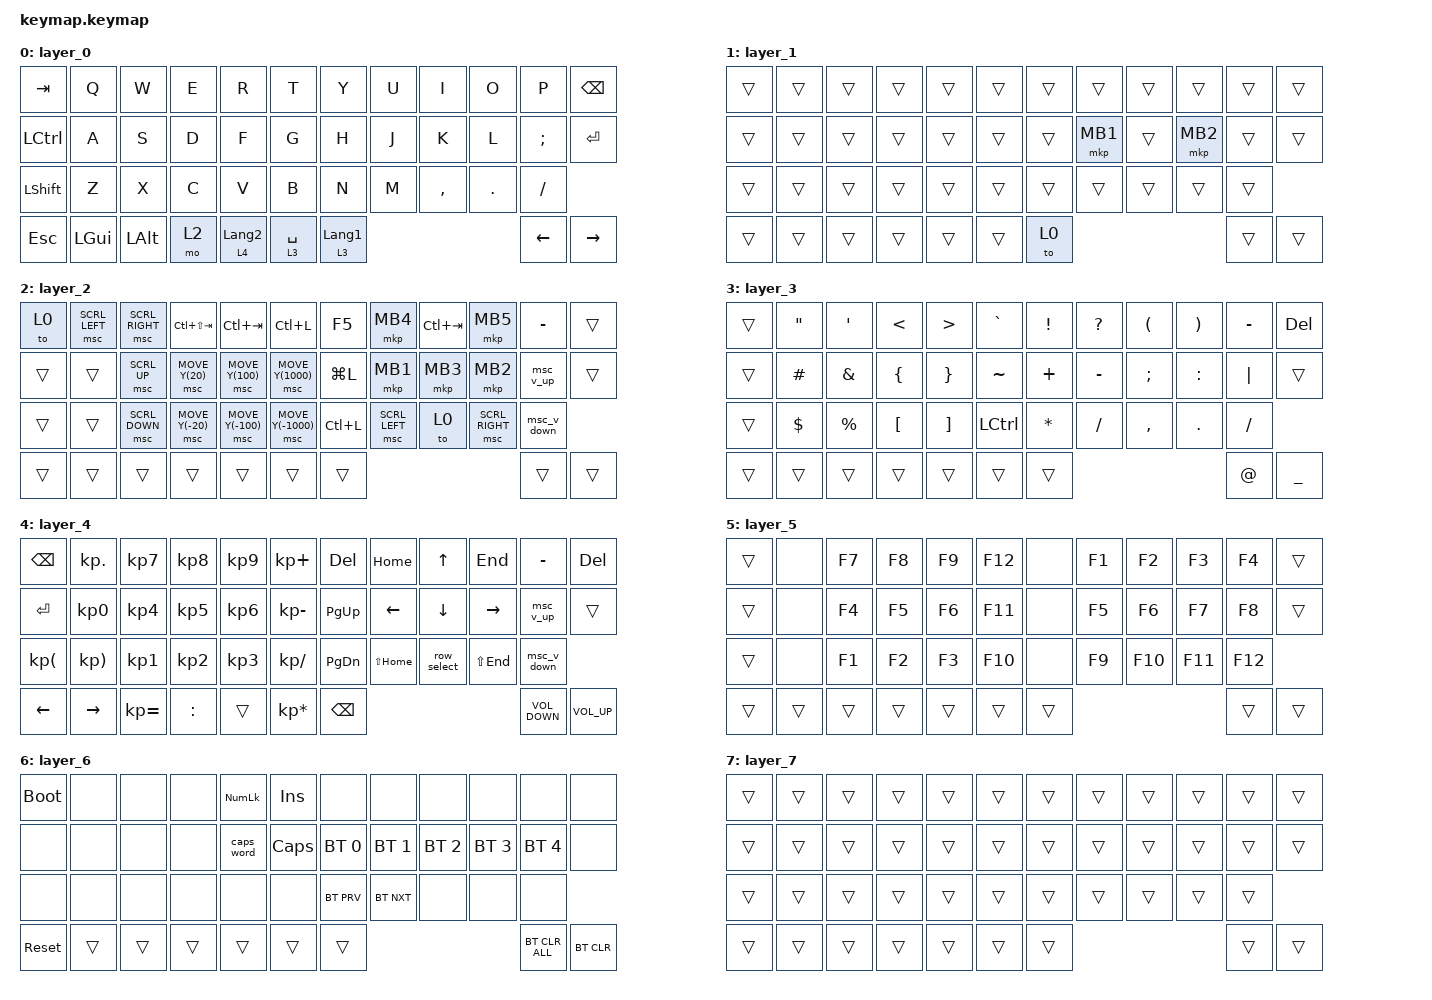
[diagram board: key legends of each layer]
#include <input/processors.dtsi>
#include <dt-bindings/zmk/input_transform.h>
#include <behaviors.dtsi>
#include <dt-bindings/zmk/bt.h>
#include <dt-bindings/zmk/keys.h>
#include <dt-bindings/zmk/pointing.h>

// オートマウスレイヤーの設定

&mkp_input_listener { input-processors = <&zip_temp_layer 1 500>; };

// オートマウスレイヤーの除外キーポジション設定

&zip_temp_layer {
    excluded-positions = <
        19 // J
        20 // K
        21 // L
    >;
};

// &ltの誤動作防止設定

&lt {
    tapping-term-ms = <240>;    /* 単発：<msec>待ったらレイヤーにする */
    quick-tap-ms = <200>;       /* 連打：<msec>以内に2回目を叩いたら即スペースにする */
    flavor = "tap-preferred";   /* 判定：時間内ならタップを優先する */
};

// &mtの誤動作防止設定

&mt {
    tapping-term-ms = <240>;    /* 単発：<msec>待ったらレイヤーにする */
    quick-tap-ms = <200>;       /* 連打：<msec>以内に2回目を叩いたら即スペースにする */
    flavor = "tap-preferred";   /* 判定：時間内ならタップを優先する */
};

/ {
    combos {
        compatible = "zmk,combos";

        Function_layer {
            bindings = <&mo 5>;
            key-positions = <43 44 42>;
        };

        mouse_button {
            bindings = <&mo 2>;
            key-positions = <40 39>;
        };

        bluetooth_layer {
            bindings = <&mo 6>;
            key-positions = <39 40 38>;
        };

        mo_scroll_layer {
            bindings = <&mo 7>;
            key-positions = <21 20>;
            timeout-ms = <75>;
            require-prior-idle-ms = <150>;
            slow-release;
        };
    };

    macros {
        row_select: row_select {
            compatible = "zmk,behavior-macro";
            #binding-cells = <0>;
            bindings = <&kp HOME &kp LS(END)>;
            label = "ROW_SELECT";
        };
    };

    behaviors {
        lt_to: lt_to {
            compatible = "zmk,behavior-hold-tap";
            label = "LT_TO";
            #binding-cells = <2>;
            bindings = <&mo>, <&to>;

            tapping-term-ms = <240>;
            flavor = "balanced";
        };

        hm: hm {
            compatible = "zmk,behavior-hold-tap";
            label = "HM";
            bindings = <&kp>, <&kp>;

            #binding-cells = <2>;
            tapping-term-ms = <280>;
            quick-tap-ms = <175>;
            require-prior-idle-ms = <150>;
            flavor = "tap-preferred";
        };

        msc_v_up: msc_v_up {
            compatible = "zmk,behavior-mod-morph";
            label = "MSC_V_UP";
            bindings = <&msc MOVE_Y(20)>, <&msc MOVE_Y(10)>;

            #binding-cells = <0>;
            mods = <(MOD_LSFT|MOD_RSFT)>;
        };

        msc_v_down: msc_v_down {
            compatible = "zmk,behavior-mod-morph";
            label = "MSC_V_DOWN";
            bindings = <&msc MOVE_Y(-20)>, <&msc MOVE_Y(-10)>;

            #binding-cells = <0>;
            mods = <(MOD_LSFT|MOD_RSFT)>;
        };
    };

    keymap {
        compatible = "zmk,keymap";

        layer_0 {
            bindings = <
&kp TAB     &kp Q     &kp W     &kp E  &kp R             &kp T        &kp Y             &kp U  &kp I      &kp O    &kp P           &kp BACKSPACE
&kp LCTRL   &kp A     &kp S     &kp D  &kp F             &kp G        &kp H             &kp J  &kp K      &kp L    &kp SEMICOLON   &kp ENTER
&kp LSHIFT  &kp Z     &kp X     &kp C  &kp V             &kp B        &kp N             &kp M  &kp COMMA  &kp DOT  &kp SLASH
&kp ESCAPE  &kp LGUI  &kp LALT  &mo 2  &lt 4 LANGUAGE_2  &lt 3 SPACE  &lt 3 LANGUAGE_1                             &kp LEFT_ARROW  &kp RIGHT_ARROW
            >;
        };

        layer_1 {
            bindings = <
&trans  &trans  &trans  &trans  &trans  &trans  &trans  &trans    &trans  &trans    &trans  &trans
&trans  &trans  &trans  &trans  &trans  &trans  &trans  &mkp MB1  &trans  &mkp MB2  &trans  &trans
&trans  &trans  &trans  &trans  &trans  &trans  &trans  &trans    &trans  &trans    &trans
&trans  &trans  &trans  &trans  &trans  &trans  &to 0                               &trans  &trans
            >;
        };

        layer_2 {
            bindings = <
&to 0   &msc SCRL_LEFT  &msc SCRL_RIGHT  &kp LC(LS(TAB))   &kp LC(TAB)        &kp LC(L)           &kp F5     &mkp MB4        &kp LC(TAB)  &mkp MB5         &kp MINUS    &trans
&trans  &trans          &msc SCRL_UP     &msc MOVE_Y(20)   &msc MOVE_Y(100)   &msc MOVE_Y(1000)   &kp LG(L)  &mkp MB1        &mkp MB3     &mkp MB2         &msc_v_up    &trans
&trans  &trans          &msc SCRL_DOWN   &msc MOVE_Y(-20)  &msc MOVE_Y(-100)  &msc MOVE_Y(-1000)  &kp LC(L)  &msc SCRL_LEFT  &to 0        &msc SCRL_RIGHT  &msc_v_down
&trans  &trans          &trans           &trans            &trans             &trans              &trans                                                   &trans       &trans
            >;
        };

        layer_3 {
            bindings = <
&trans  &kp DOUBLE_QUOTES  &kp SQT        &kp LESS_THAN     &kp GREATER_THAN   &kp GRAVE  &kp EXCLAMATION  &kp QUESTION  &kp LEFT_PARENTHESIS  &kp RIGHT_PARENTHESIS  &kp MINUS    &kp DELETE
&trans  &kp HASH           &kp AMPERSAND  &kp LEFT_BRACE    &kp RIGHT_BRACE    &kp TILDE  &kp PLUS         &kp MINUS     &kp SEMICOLON         &kp COLON              &kp PIPE     &trans
&trans  &kp DOLLAR         &kp PERCENT    &kp LEFT_BRACKET  &kp RIGHT_BRACKET  &kp LCTRL  &kp ASTERISK     &kp SLASH     &kp COMMA             &kp PERIOD             &kp SLASH
&trans  &trans             &trans         &trans            &trans             &trans     &trans                                                                      &kp AT_SIGN  &kp UNDERSCORE
            >;
        };

        layer_4 {
            bindings = <
&kp BACKSPACE            &kp KP_DOT                &kp KP_NUMBER_7  &kp KP_NUMBER_8  &kp KP_NUMBER_9  &kp KP_PLUS      &kp DELETE     &kp HOME      &kp UP          &kp END      &kp MINUS          &kp DELETE
&kp ENTER                &kp KP_NUMBER_0           &kp KP_NUMBER_4  &kp KP_NUMBER_5  &kp KP_NUMBER_6  &kp KP_MINUS     &kp PAGE_UP    &kp LEFT      &kp DOWN_ARROW  &kp RIGHT    &msc_v_up          &trans
&kp KP_LEFT_PARENTHESIS  &kp KP_RIGHT_PARENTHESIS  &kp KP_NUMBER_1  &kp KP_NUMBER_2  &kp KP_NUMBER_3  &kp KP_SLASH     &kp PAGE_DOWN  &kp LS(HOME)  &row_select     &kp LS(END)  &msc_v_down
&kp LEFT_ARROW           &kp RIGHT_ARROW           &kp KP_EQUAL     &kp COLON        &trans           &kp KP_MULTIPLY  &kp BACKSPACE                                             &kp C_VOLUME_DOWN  &kp C_VOLUME_UP
            >;
        };

        layer_5 {
            bindings = <
&trans  &none   &kp F7  &kp F8  &kp F9  &kp F12  &none   &kp F1  &kp F2   &kp F3   &kp F4   &trans
&trans  &none   &kp F4  &kp F5  &kp F6  &kp F11  &none   &kp F5  &kp F6   &kp F7   &kp F8   &trans
&trans  &none   &kp F1  &kp F2  &kp F3  &kp F10  &none   &kp F9  &kp F10  &kp F11  &kp F12
&trans  &trans  &trans  &trans  &trans  &trans   &trans                            &trans   &trans
            >;
        };

        layer_6 {
            bindings = <
&bootloader  &none   &none   &none   &kp KP_NUMLOCK  &kp INSERT    &none         &none         &none         &none         &none           &none
&none        &none   &none   &none   &caps_word      &kp CAPSLOCK  &bt BT_SEL 0  &bt BT_SEL 1  &bt BT_SEL 2  &bt BT_SEL 3  &bt BT_SEL 4    &none
&none        &none   &none   &none   &none           &none         &bt BT_PRV    &bt BT_NXT    &none         &none         &none
&sys_reset   &trans  &trans  &trans  &trans          &trans        &trans                                                  &bt BT_CLR_ALL  &bt BT_CLR
            >;
        };

        layer_7 {
            bindings = <
&trans  &trans  &trans  &trans  &trans  &trans  &trans  &trans  &trans  &trans  &trans  &trans
&trans  &trans  &trans  &trans  &trans  &trans  &trans  &trans  &trans  &trans  &trans  &trans
&trans  &trans  &trans  &trans  &trans  &trans  &trans  &trans  &trans  &trans  &trans
&trans  &trans  &trans  &trans  &trans  &trans  &trans                          &trans  &trans
            >;
        };
    };

    conditional_layers { compatible = "zmk,conditional-layers"; };
};
